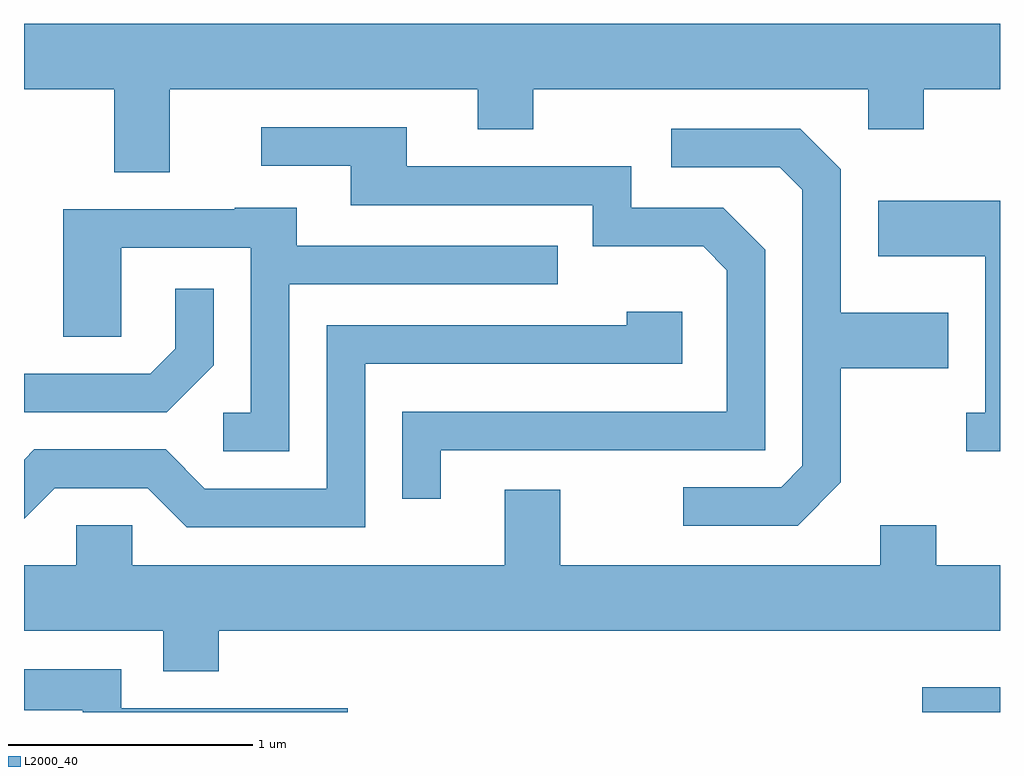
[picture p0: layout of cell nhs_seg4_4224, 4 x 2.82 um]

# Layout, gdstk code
import gdstk
lib = gdstk.Library(unit=1e-6, precision=1e-09)
def R(c, l, rs):  # rectangles x0, y0, x1, y1
    for r in rs: c.add(gdstk.rectangle(r[:2], r[2:], *l))
def P(c, l, *ps):  # polygons
    for p in ps: c.add(gdstk.Polygon(p, *l))
L2000_40 = (2000, 40)

nhs_seg4_4224 = lib.new_cell('nhs_seg4_4224')
R(nhs_seg4_4224, L2000_40, [(313.293,1269.982,313.611,1270.084)])
P(nhs_seg4_4224, L2000_40, [(310.209,1272.536),(311.471,1272.536),(311.471,1272.371),(311.699,1272.371),(311.699,1272.536),(313.071,1272.536),(313.071,1272.371),(313.299,1272.371),(313.299,1272.536),(313.611,1272.536),(313.611,1272.804),(309.611,1272.804),(309.611,1272.536),(309.981,1272.536),(309.981,1272.196),(310.209,1272.196)],
  [(311.319,1271.056),(312.649,1271.056),(312.649,1271.877),(312.477,1272.049),(312.099,1272.049),(312.099,1272.219),(311.179,1272.219),(311.179,1272.379),(310.583,1272.379),(310.583,1272.221),(310.951,1272.221),(310.951,1272.061),(311.941,1272.061),(311.941,1271.891),(312.394,1271.891),(312.491,1271.794),(312.491,1271.214),(311.161,1271.214),(311.161,1270.858),(311.319,1270.858)],
  [(312.959,1270.924),(312.959,1271.391),(313.399,1271.391),(313.399,1271.619),(312.959,1271.619),(312.959,1272.207),(312.792,1272.374),(312.263,1272.374),(312.263,1272.216),(312.709,1272.216),(312.801,1272.124),(312.801,1270.992),(312.714,1270.904),(312.313,1270.904),(312.313,1270.746),(312.782,1270.746)],
  [(313.611,1272.079),(313.111,1272.079),(313.111,1271.851),(313.551,1271.851),(313.551,1271.209),(313.473,1271.209),(313.473,1271.051),(313.611,1271.051)],
  [(310.699,1271.736),(311.798,1271.736),(311.798,1271.894),(310.729,1271.894),(310.729,1272.049),(310.475,1272.049),(310.475,1272.044),(309.771,1272.044),(309.771,1271.521),(310.009,1271.521),(310.009,1271.886),(310.541,1271.886),(310.541,1271.209),(310.428,1271.209),(310.428,1271.051),(310.699,1271.051)],
  [(310.389,1271.404),(310.389,1271.718),(310.231,1271.718),(310.231,1271.472),(310.129,1271.369),(309.611,1271.369),(309.611,1271.211),(310.197,1271.211)],
  [(311.009,1271.411),(312.309,1271.411),(312.309,1271.624),(312.081,1271.624),(312.081,1271.569),(310.851,1271.569),(310.851,1270.899),(310.352,1270.899),(310.192,1271.059),(309.654,1271.059),(309.611,1271.016),(309.611,1270.775),(309.737,1270.901),(310.119,1270.901),(310.279,1270.741),(311.009,1270.741)],
  [(310.409,1270.316),(313.611,1270.316),(313.611,1270.584),(313.349,1270.584),(313.349,1270.749),(313.121,1270.749),(313.121,1270.584),(311.809,1270.584),(311.809,1270.894),(311.581,1270.894),(311.581,1270.584),(310.054,1270.584),(310.054,1270.749),(309.826,1270.749),(309.826,1270.584),(309.611,1270.584),(309.611,1270.316),(310.181,1270.316),(310.181,1270.151),(310.409,1270.151)],
  [(310.938,1269.999),(310.009,1269.999),(310.009,1270.159),(309.611,1270.159),(309.611,1269.991),(309.851,1269.991),(309.851,1269.982),(310.938,1269.982)])

lib.write_gds('nhs_seg4_4224.gds')
